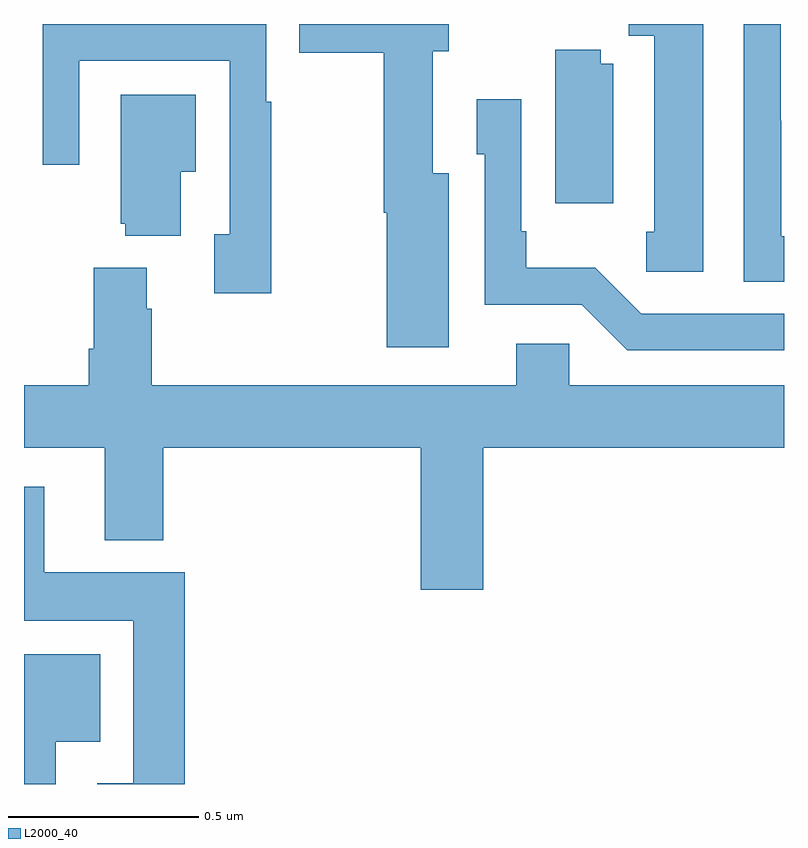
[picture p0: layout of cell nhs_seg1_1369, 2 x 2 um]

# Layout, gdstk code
import gdstk
lib = gdstk.Library(unit=1e-6, precision=1e-09)
def P(c, l, *ps):  # polygons
    for p in ps: c.add(gdstk.Polygon(p, *l))
L2000_40 = (2000, 40)

nhs_seg1_1369 = lib.new_cell('nhs_seg1_1369')
P(nhs_seg1_1369, L2000_40, [(129.118,533.806),(129.076,533.806),(129.076,534.127),(129.118,534.127),(129.118,534.199),(128.724,534.199),(128.724,534.123),(128.947,534.123),(128.947,533.702),(128.954,533.702),(128.954,533.349),(129.118,533.349)],
  [(129.787,534.199),(129.591,534.199),(129.591,534.168),(129.659,534.168),(129.659,533.652),(129.637,533.652),(129.637,533.547),(129.787,533.547)],
  [(128.65,533.995),(128.637,533.995),(128.637,534.199),(128.365,534.199),(128.365,534.198),(128.049,534.198),(128.049,533.829),(128.145,533.829),(128.145,534.102),(128.541,534.102),(128.541,533.646),(128.501,533.646),(128.501,533.49),(128.65,533.49)],
  [(130,533.641),(129.993,533.641),(129.993,533.945),(129.991,533.945),(129.991,534.199),(129.894,534.199),(129.894,533.521),(130,533.521)],
  [(129.55,534.094),(129.518,534.094),(129.518,534.131),(129.398,534.131),(129.398,533.727),(129.55,533.727)],
  [(128.413,533.81),(128.452,533.81),(128.452,534.013),(128.255,534.013),(128.255,533.673),(128.267,533.673),(128.267,533.642),(128.413,533.642)],
  [(130,533.436),(129.624,533.436),(129.503,533.557),(129.322,533.557),(129.322,533.653),(129.309,533.653),(129.309,534.001),(129.192,534.001),(129.192,533.856),(129.213,533.856),(129.213,533.46),(129.468,533.46),(129.588,533.34),(130,533.34)],
  [(129.208,533.084),(130,533.084),(130,533.248),(129.435,533.248),(129.435,533.358),(129.296,533.358),(129.296,533.248),(128.336,533.248),(128.336,533.45),(128.323,533.45),(128.323,533.557),(128.183,533.557),(128.183,533.344),(128.171,533.344),(128.171,533.248),(128,533.248),(128,533.084),(128.213,533.084),(128.213,532.841),(128.366,532.841),(128.366,533.084),(129.044,533.084),(129.044,532.71),(129.208,532.71)],
  [(128.423,532.756),(128.053,532.756),(128.053,532.981),(128,532.981),(128,532.628),(128.288,532.628),(128.288,532.201),(128.193,532.201),(128.193,532.199),(128.423,532.199)],
  [(128.083,532.31),(128.2,532.31),(128.2,532.54),(128,532.54),(128,532.199),(128.083,532.199)])

lib.write_gds('nhs_seg1_1369.gds')
